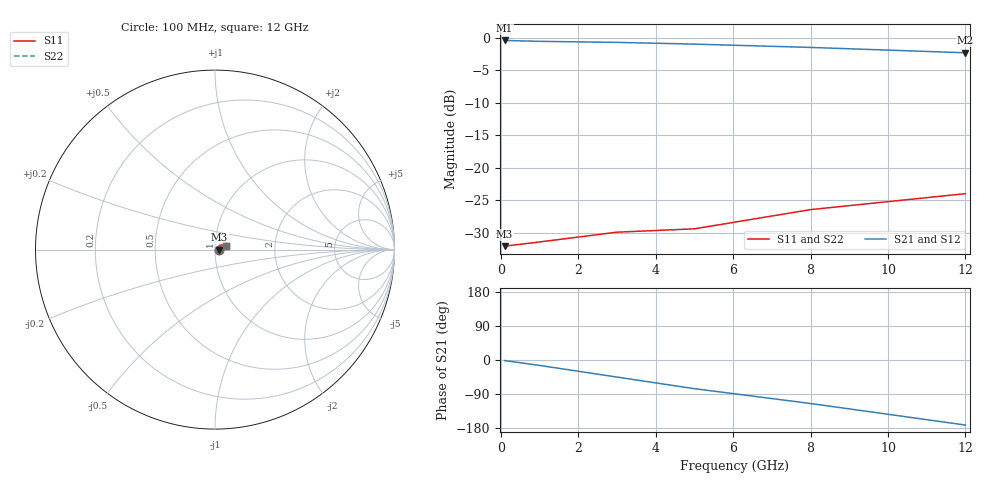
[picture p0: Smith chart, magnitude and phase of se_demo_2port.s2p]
! Synthetic reciprocal 2-port example for guided practice
# GHz S RI R 50
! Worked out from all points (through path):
!   6 points, 100 MHz to 12 GHz, reference 50 ohm
!   highest |S21| = -0.44 dB at 100 MHz (marker M1); lowest = -2.3 dB at 12 GHz (marker M2)
!   lowest |S11| = -32.0 dB at 100 MHz (marker M3), VSWR 1.05, Z = 52.6 + j0 ohm
!   |S11| at or under -10 dB: start of sweep to end of sweep
!   |S22| runs from -32.0 to -24.0 dB; largest |S21 - S12| = 0
0.1  0.025 0  0.95 -0.025  0.95 -0.025  0.025 0
1  0.025 0.01  0.907 -0.23  0.907 -0.23  0.025 0.01
3  0.025 0.02  0.649 -0.65  0.649 -0.65  0.025 0.02
5  0.025 0.023  0.221 -0.863  0.221 -0.863  0.025 0.023
8  0.04 0.026  -0.352 -0.763  -0.352 -0.763  0.04 0.026
12  0.06 0.02  -0.756 -0.111  -0.756 -0.111  0.06 0.02
